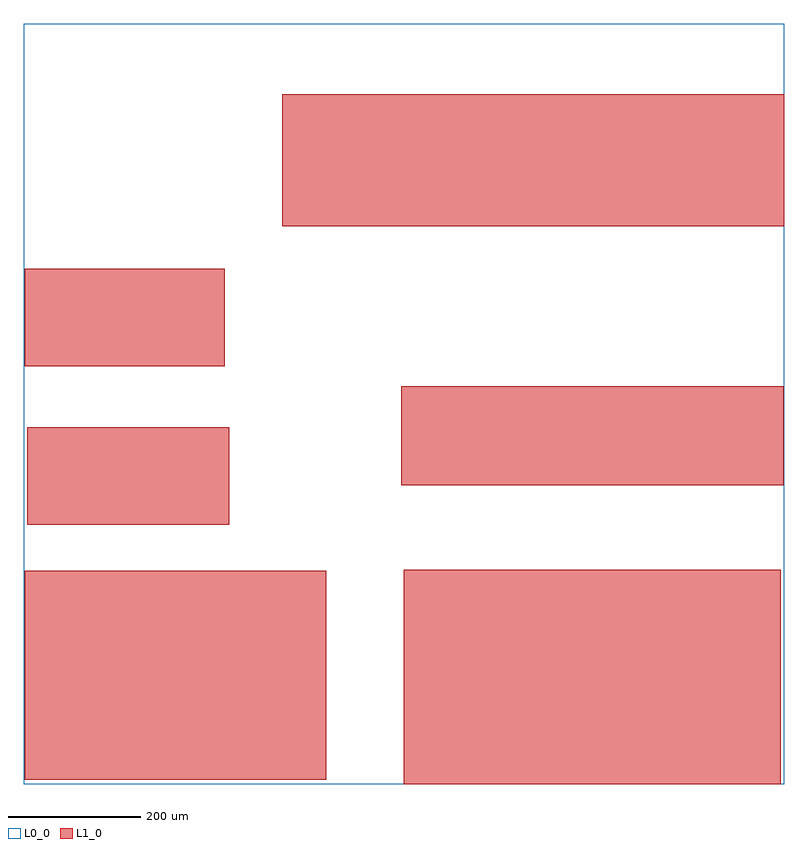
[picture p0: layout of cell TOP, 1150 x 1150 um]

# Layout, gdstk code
import gdstk
lib = gdstk.Library(unit=1e-6, precision=1e-09)
def R(c, l, rs):  # rectangles x0, y0, x1, y1
    for r in rs: c.add(gdstk.rectangle(r[:2], r[2:], *l))
L0_0 = (0, 0)
L1_0 = (1, 0)

top = lib.new_cell('TOP')
R(top, L0_0, [(0,0,1150,1150), (0,850,300,1050)])
R(top, L1_0, [(574.6,0,1145.245,324), (0.94,6.351,457.38,322.351), (4.965,392,310.765,540), (570.93,452,1149.8,602), (575.13,454,1147.8,598), (1.2,632.188,304,779.92), (390.4,844,1150,1044)])

lib.write_gds('TOP.gds')
